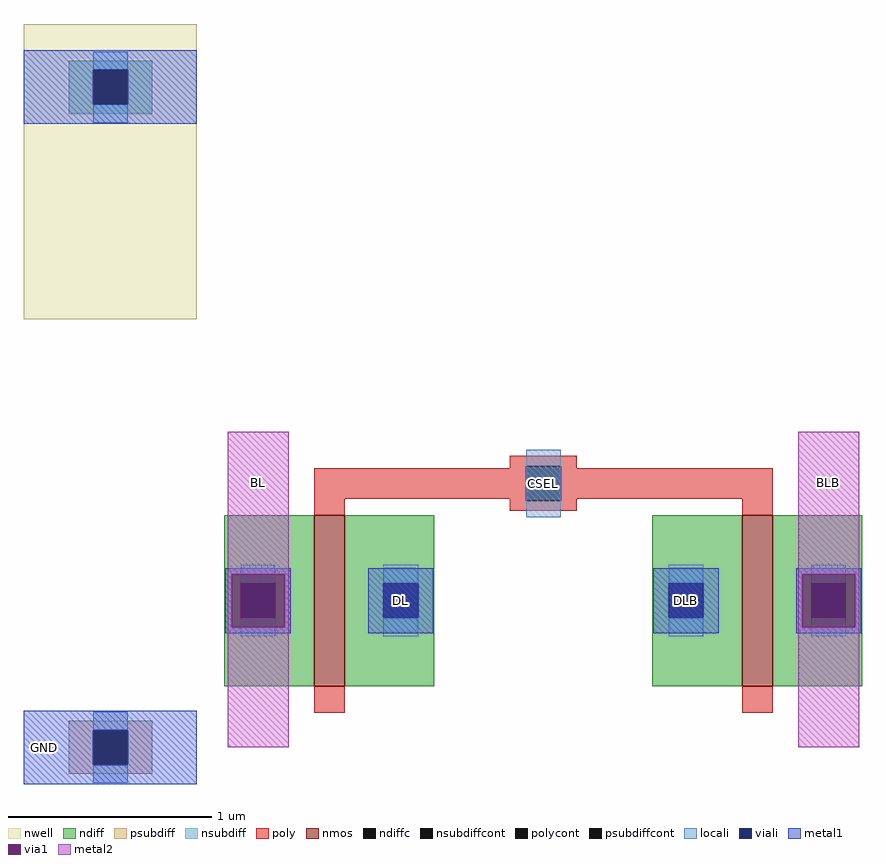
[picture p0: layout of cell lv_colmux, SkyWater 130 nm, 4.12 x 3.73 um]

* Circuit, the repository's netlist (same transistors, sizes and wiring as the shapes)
* NGSPICE file created from lv_colmux.ext - technology: sky130A

.subckt colmux BL DL BLB DLB CSEL VSUBS
X0 DL CSEL BL VSUBS sky130_fd_pr__nfet_01v8 ad=0.3696 pd=2.56 as=0.3696 ps=2.56 w=0.84 l=0.15
X1 BLB CSEL DLB VSUBS sky130_fd_pr__nfet_01v8 ad=0.3696 pd=2.56 as=0.3696 ps=2.56 w=0.84 l=0.15
.ends

.subckt lv_colmux BL DL BLB DLB CSEL GND
Xu BL DL BLB DLB CSEL GND colmux
.ends

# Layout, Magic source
magic
tech sky130A
magscale 1 2
<< locali >>
rect 493 242 527 276
<< metal1 >>
rect 353 127 387 161
rect 633 127 667 161
rect 3 -17 37 17
<< metal2 >>
rect 213 243 247 277
rect 773 243 807 277
use tap  t
transform 1 0 0 0 1 0
box 0 -36 170 710
use colmux  u
transform 1 0 230 0 1 0
box -33 0 593 310
<< labels >>
rlabel metal2 230 260 230 260 0 BL
port 1 nsew
rlabel metal1 370 144 370 144 0 DL
port 2 nsew
rlabel metal2 790 260 790 260 0 BLB
port 3 nsew
rlabel metal1 650 144 650 144 0 DLB
port 4 nsew
rlabel locali 510 259 510 259 0 CSEL
port 5 nsew
rlabel metal1 20 0 20 0 0 GND
port 6 nsew
<< end >>

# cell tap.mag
magic
tech sky130A
magscale 1 2
<< nwell >>
rect 0 420 170 710
<< psubdiff >>
rect 44 17 126 26
rect 44 -17 68 17
rect 102 -17 126 17
rect 44 -26 126 -17
<< nsubdiff >>
rect 44 665 126 674
rect 44 631 68 665
rect 102 631 126 665
rect 44 622 126 631
<< psubdiffcont >>
rect 68 -17 102 17
<< nsubdiffcont >>
rect 68 631 102 665
<< locali >>
rect 68 665 102 683
rect 68 613 102 631
rect 68 17 102 35
rect 68 -35 102 -17
<< viali >>
rect 68 631 102 665
rect 68 -17 102 17
<< metal1 >>
rect 0 665 170 684
rect 0 631 68 665
rect 102 631 170 665
rect 0 612 170 631
rect 0 17 170 36
rect 0 -17 68 17
rect 102 -17 170 17
rect 0 -36 170 -17
<< labels >>
rlabel metal1 20 648 20 648 0 VDD
port 1 nsew
rlabel metal1 20 0 20 0 0 GND
port 2 nsew
<< end >>

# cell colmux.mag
magic
tech sky130A
magscale 1 2
<< nmos >>
rect 55 60 85 228
rect 475 60 505 228
<< ndiff >>
rect -33 161 55 228
rect -33 127 -17 161
rect 17 127 55 161
rect -33 60 55 127
rect 85 161 173 228
rect 85 127 123 161
rect 157 127 173 161
rect 85 60 173 127
rect 387 161 475 228
rect 387 127 403 161
rect 437 127 475 161
rect 387 60 475 127
rect 505 161 593 228
rect 505 127 543 161
rect 577 127 593 161
rect 505 60 593 127
<< ndiffc >>
rect -17 127 17 161
rect 123 127 157 161
rect 403 127 437 161
rect 543 127 577 161
<< poly >>
rect 247 276 313 286
rect 247 274 263 276
rect 55 244 263 274
rect 55 228 85 244
rect 247 242 263 244
rect 297 274 313 276
rect 297 244 505 274
rect 297 242 313 244
rect 247 232 313 242
rect 475 228 505 244
rect 55 34 85 60
rect 475 34 505 60
<< polycont >>
rect 263 242 297 276
<< locali >>
rect 263 276 297 292
rect 263 226 297 242
rect -17 161 17 179
rect -17 109 17 127
rect 123 161 157 179
rect 123 109 157 127
rect 403 161 437 179
rect 403 109 437 127
rect 543 161 577 179
rect 543 109 577 127
<< viali >>
rect -17 127 17 161
rect 123 127 157 161
rect 403 127 437 161
rect 543 127 577 161
<< metal1 >>
rect -32 170 32 176
rect -32 118 -26 170
rect 26 118 32 170
rect -32 112 32 118
rect 108 161 172 176
rect 108 127 123 161
rect 157 127 172 161
rect 108 112 172 127
rect 388 161 452 176
rect 388 127 403 161
rect 437 127 452 161
rect 388 112 452 127
rect 528 170 592 176
rect 528 118 534 170
rect 586 118 592 170
rect 528 112 592 118
<< via1 >>
rect -26 161 26 170
rect -26 127 -17 161
rect -17 127 17 161
rect 17 127 26 161
rect -26 118 26 127
rect 534 161 586 170
rect 534 127 543 161
rect 543 127 577 161
rect 577 127 586 161
rect 534 118 586 127
<< metal2 >>
rect -30 170 30 310
rect -30 118 -26 170
rect 26 118 30 170
rect -30 0 30 118
rect 530 170 590 310
rect 530 118 534 170
rect 586 118 590 170
rect 530 0 590 118
<< labels >>
rlabel metal2 0 260 0 260 0 BL
port 1 nsew
rlabel viali 140 144 140 144 0 DL
port 2 nsew
rlabel metal2 560 260 560 260 0 BLB
port 3 nsew
rlabel viali 420 144 420 144 0 DLB
port 4 nsew
rlabel polycont 280 259 280 259 0 CSEL
port 5 nsew
<< end >>
